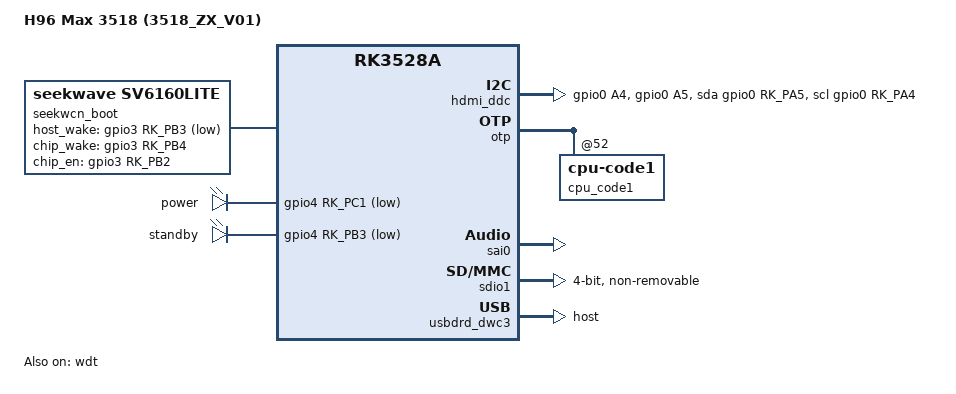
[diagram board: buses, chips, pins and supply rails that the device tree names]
/dts-v1/;

/*
 * Written by tools/dtcx/upstream.py from board.dts: a view, not edited.
 * Over rockchip-linux/kernel at 77168c8d5ab8.
 */

#include "rk3528-evb1-ddr4-v10.dts"
#include <dt-bindings/clock/rk3528-cru.h>
#include <dt-bindings/gpio/gpio.h>
#include <dt-bindings/pinctrl/rockchip.h>
#include <dt-bindings/input/linux-event-codes.h>
#include <dt-bindings/suspend/rockchip-rk3528.h>

/ {
	/* board name first: the Seekwave driver builds its firmware filenames from it.
	 * rk3528a last, because rkmpp has no rk3518 entry and cannot otherwise find the VPU */
	compatible = "h96max-3518,rk3518-tvbox", "rockchip,rk3518-evb1-ddr4-v10", "rockchip,rk3518", "rockchip,rk3528a";
	model = "H96 Max 3518 (3518_ZX_V01)";
	/delete-node/ vdd-logic;
	/delete-node/ vdd-gpu;
	/delete-node/ chosen;

	aliases {
		/delete-property/ ethernet1;
	};

	cpuinfo {
		nvmem-cells = <&otp_id>, <&otp_cpu_version>, <&cpu_code>, <&cpu_code1>;
		nvmem-cell-names = "id", "cpu-version", "cpu-code", "cpu-code1";
	};

	/* the HDMI DDC lines as a full I2C bus: dw-hdmi's own master reads the EDID but refuses DDC/CI */
	hdmi_ddc: i2c-hdmi-ddc {
		compatible = "i2c-gpio";
		sda-gpios = <&gpio0 RK_PA5 GPIO_OPEN_DRAIN>;
		scl-gpios = <&gpio0 RK_PA4 GPIO_OPEN_DRAIN>;
		i2c-gpio,delay-us = <5>;
		pinctrl-names = "default";
		pinctrl-0 = <&hdmi_ddc_gpio>;
		#address-cells = <1>;
		#size-cells = <0>;
	};

	seekwcn_boot: seekwcn_boot {
		compatible = "seekwave,sv6160lite";
		dma_type = <0x01>;
		seekwave_nv_name = "SEEKWAVE_NV_SWT6652.bin";
		gpio_host_wake = <&gpio3 RK_PB3 GPIO_ACTIVE_LOW>;
		gpio_chip_wake = <&gpio3 RK_PB4 GPIO_ACTIVE_HIGH>;
		gpio_chip_en = <&gpio3 RK_PB2 GPIO_ACTIVE_HIGH>;
		status = "okay";
	};

	leds: gpio-leds {
		compatible = "gpio-leds";

		/* power/standby are the names the shared LED hooks drive; the factory called
		 * them work-green and work-red */
		power {
			gpios = <&gpio4 RK_PC1 GPIO_ACTIVE_LOW>;
			linux,default-trigger = "none";
			default-state = "on";
			retain-state-suspended;
			retain-state-shutdown;
		};

		/* the standby half of the same rename; the factory called it work-red */
		standby {
			gpios = <&gpio4 RK_PB3 GPIO_ACTIVE_LOW>;
			linux,default-trigger = "none";
			default-state = "off";
			retain-state-suspended;
			retain-state-shutdown;
		};
	};
};

&adc_keys {
	vol-up-key {
		/* The recovery button, not a volume key: mainline's code for one. */
		linux,code = <KEY_VENDOR>;
	};
};

&cpu0_opp_table {
	mbist-vmin = <825000 925000 925000>;
	rockchip,pvtm-voltage-sel = <0 1420 0>, <1410 1444 1>, <1445 1474 2>, <1475 1509 3>,
	                            <1510 1544 4>, <1545 1579 5>, <1580 1619 6>,
	                            <1620 1689 7>, <1690 1744 8>, <1745 1799 9>,
	                            <1800 9999 10>;
	rockchip,pvtm-freq = <1416000>;
	rockchip,pvtm-volt = <950000>;
	rockchip,video-1080p-freq = <1200000>;
	/delete-node/ opp-408000000;
	/delete-node/ opp-600000000;
	/delete-node/ opp-816000000;
	/delete-node/ opp-1008000000;
	/delete-node/ opp-1608000000;
	/delete-node/ opp-1800000000;
	/delete-node/ opp-2016000000;

	opp-1200000000 {
		/delete-property/ opp-microvolt-L0;
		/delete-property/ opp-microvolt-L1;
		/delete-property/ opp-microvolt-L2;
		/delete-property/ opp-microvolt-L3;
		/delete-property/ opp-microvolt-L4;
		/delete-property/ opp-microvolt-L5;
		/delete-property/ opp-microvolt-L6;
		opp-microvolt = <900000 900000 1000000>;
	};

	opp-1416000000 {
		/delete-property/ opp-microvolt-L5;
		/delete-property/ opp-microvolt-L6;
		/delete-property/ opp-microvolt-L7;
		/delete-property/ opp-microvolt-L8;
		/delete-property/ opp-microvolt-L9;
		/delete-property/ opp-microvolt-L10;
		/delete-property/ opp-microvolt-L11;
		opp-microvolt = <900000 900000 1000000>;
		opp-microvolt-L1 = <950000 950000 1000000>;
		opp-microvolt-L2 = <937500 937500 1000000>;
		opp-microvolt-L3 = <925000 925000 1000000>;
		opp-microvolt-L4 = <912500 912500 1000000>;
		opp-microvolt-L0 = <962500 962500 1000000>;
	};
};

&dmc {
	system-status-level = <1 8>;
	center-supply = <&vdd_cpu>;
};

&dmc_opp_table {
	rockchip,leakage-voltage-sel = <1 10 0>, <11 14 1>, <15 22 2>, <23 28 3>,
	                               <29 254 4>;
	/delete-node/ opp-920000000;

	opp-324000000 {
		opp-microvolt = <900000 900000 1000000>;
	};

	opp-666000000 {
		opp-microvolt = <900000 900000 1000000>;
	};

	opp-1056000000 {
		/delete-property/ opp-microvolt-L0;
		/delete-property/ opp-microvolt-L1;
		/delete-property/ opp-microvolt-L2;
		/delete-property/ opp-microvolt-L3;
		/delete-property/ opp-microvolt-L4;
		opp-microvolt = <900000 900000 1000000>;
	};

	opp-780000000 {
		opp-hz = /bits/ 64 <780000000>;
		opp-microvolt = <900000 900000 1000000>;
	};
};

&gmac1 {
	status = "disabled";
};

&gpu {
	/* names mainline lima expects; the vendor Mali blob used its own */
	interrupt-names = "gp", "gpmmu", "pp", "pp0", "ppmmu0", "pp1", "ppmmu1";
	clocks = <&cru ACLK_GPU_MALI>, <&cru ACLK_GPU_MALI>;
	clock-names = "bus", "core";
	mali-supply = <&vdd_cpu>;
};

&gpu_bus {
	status = "disabled";
};

&gpu_bus_opp_table {
	rockchip,leakage-voltage-sel = <1 22 0>, <23 254 1>;
};

&gpu_opp_table {
	rockchip,pvtm-voltage-sel = <0 809 0>, <810 830 1>, <831 850 2>, <851 880 3>,
	                            <881 890 4>, <891 910 5>, <911 930 6>, <931 950 7>,
	                            <951 970 8>, <971 995 9>, <1000 9999 10>;
	rockchip,pvtm-volt = <950000>;
	/delete-node/ opp-300000000;
	/delete-node/ opp-500000000;
	/delete-node/ opp-600000000;

	opp-700000000 {
		/delete-property/ opp-microvolt-L1;
		/delete-property/ opp-microvolt-L2;
		/delete-property/ opp-microvolt-L3;
		/delete-property/ opp-microvolt-L4;
		/delete-property/ opp-microvolt-L5;
		/delete-property/ opp-microvolt-L6;
		/delete-property/ opp-microvolt-L7;
		/delete-property/ opp-microvolt-L8;
		/delete-property/ clock-latency-ns;
	};

	opp-800000000 {
		/delete-property/ opp-microvolt-L6;
		/delete-property/ opp-microvolt-L7;
		/delete-property/ opp-microvolt-L8;
		/delete-property/ clock-latency-ns;
		opp-microvolt = <900000 900000 1000000>;
		opp-microvolt-L1 = <950000 950000 1000000>;
		opp-microvolt-L2 = <937500 937500 1000000>;
		opp-microvolt-L3 = <925000 925000 1000000>;
		opp-microvolt-L4 = <912500 912500 1000000>;
		opp-microvolt-L5 = <900000 900000 1000000>;
		opp-microvolt-L0 = <962500 962500 1000000>;
	};
};

&gpu_power_model {
	ls = <0xffffc2d6 0x1071a 0x00>;
	ts = <0x302a42 0x1d55a 0xfffff636 0x27>;
};

&hdmi {
	ddc-i2c-bus = <&hdmi_ddc>;
};

&hdmi_pins {
	rockchip,pins = <0 RK_PA3 1 &pcfg_pull_none>;
};

&i2c6 {
	status = "disabled";
};

&otp {
	cpu_code1: cpu-code1@52 {
		reg = <0x52 0x02>;
	};
};

&pinctrl {
	hdmi {
		hdmi_ddc_gpio: hdmi-ddc-gpio {
			rockchip,pins = <0 RK_PA4 RK_FUNC_GPIO &pcfg_pull_none>,
			                <0 RK_PA5 RK_FUNC_GPIO &pcfg_pull_none>;
		};
	};
};

&pwm3 {
	/* IR as an ATF wake source, so the remote can power the box on */
	remote_support_psci = <0x01>;

	ir_key4 {
		rockchip,usercode = <0x7f80>;
		rockchip,key_table = <0xec KEY_REPLY>, <0xd8 KEY_BACK>, <0xc7 KEY_UP>,
		                     <0xbf KEY_DOWN>, <0xc8 KEY_LEFT>, <0xc6 KEY_RIGHT>,
		                     <0x8c KEY_HOME>, <0x78 KEY_VOLUMEUP>,
		                     <0x76 KEY_VOLUMEDOWN>, <0x7e KEY_POWER>,
		                     <0x7c KEY_MENU>, <0xb7 KEY_TEXT>;
	};

	ir_key5 {
		rockchip,usercode = <0xfeaa>;
		rockchip,key_table = <0xec KEY_REPLY>, <0xe6 KEY_BACK>, <0xe9 KEY_UP>,
		                     <0xe5 KEY_DOWN>, <0xae KEY_LEFT>, <0xaf KEY_RIGHT>,
		                     <0xee KEY_HOME>, <0xe7 KEY_VOLUMEUP>,
		                     <0xef KEY_VOLUMEDOWN>, <0xbf KEY_POWER>,
		                     <0xbe KEY_MUTE>, <0xb3 KEY_MENU>, <0xff KEY_TEXT>,
		                     <0xb1 KEY_RED>, <0xf2 KEY_GREEN>, <0xf3 KEY_3>,
		                     <0xb5 KEY_4>, <0xf6 KEY_5>, <0xf7 KEY_6>,
		                     <0xb9 KEY_YELLOW>, <0xfa KEY_BLUE>, <0xfb KEY_9>,
		                     <0xfe KEY_0>, <0xbd KEY_BACKSPACE>, <0xbc KEY_F13>,
		                     <0xf0 KEY_F16>, <0xb4 KEY_PREVIOUS>, <0xb8 KEY_A>,
		                     <0xb0 KEY_NEXT>;
	};

	ir_key6 {
		rockchip,usercode = <0xfb04>;
		/* The bundled remote, onto the canonical keymap: cog, voice, mouse, OK, home, P and the app keys. */
		rockchip,key_table = <0xf7 KEY_POWER>, <0xd0 KEY_TOUCHPAD_TOGGLE>,
		                     <0xb5 KEY_MENU>, <0x5b KEY_SEARCH>, <0x4d KEY_CONFIG>,
		                     <0xba KEY_UP>, <0xb9 KEY_DOWN>, <0xb8 KEY_LEFT>,
		                     <0xb7 KEY_RIGHT>, <0xbb KEY_OK>, <0xe5 KEY_BACK>,
		                     <0xe4 KEY_BACKSPACE>, <0xd2 KEY_HOMEPAGE>,
		                     <0xfd KEY_VOLUMEUP>, <0xfc KEY_VOLUMEDOWN>,
		                     <0xf6 0x71>, <0xff KEY_CHANNELUP>,
		                     <0xfe KEY_CHANNELDOWN>, <0x04 KEY_RED>,
		                     <0x14 KEY_YELLOW>, <0x4c KEY_BLUE>, <0x4b KEY_GREEN>;
	};

	ir_key7 {
		rockchip,usercode = <0xfe01>;
		rockchip,key_table = <0xec KEY_REPLY>, <0xe6 KEY_BACK>, <0xe9 KEY_UP>,
		                     <0xe5 KEY_DOWN>, <0xae KEY_LEFT>, <0xaf KEY_RIGHT>,
		                     <0xee KEY_HOME>, <0xe7 KEY_VOLUMEUP>,
		                     <0xef KEY_VOLUMEDOWN>, <0xbf KEY_POWER>,
		                     <0xbe KEY_MUTE>, <0xb3 KEY_MENU>, <0xff KEY_TEXT>,
		                     <0xb1 KEY_1>, <0xf2 KEY_2>, <0xf3 KEY_3>, <0xb5 KEY_4>,
		                     <0xf6 KEY_5>, <0xf7 KEY_6>, <0xb9 KEY_7>, <0xfa KEY_8>,
		                     <0xfb KEY_9>, <0xfe KEY_0>, <0xbd KEY_BACKSPACE>,
		                     <0xbc KEY_F13>, <0xf0 KEY_F16>, <0xb4 KEY_PREVIOUS>,
		                     <0xb8 KEY_A>, <0xb0 KEY_NEXT>;
	};

	ir_key8 {
		rockchip,key_table = <0x31 KEY_REPLY>, <0x6a KEY_BACK>, <0x35 KEY_UP>,
		                     <0x2d KEY_DOWN>, <0x66 KEY_LEFT>, <0x3e KEY_RIGHT>,
		                     <0x7f KEY_VOLUMEUP>, <0x7e KEY_VOLUMEDOWN>,
		                     <0x23 KEY_POWER>, <0x63 KEY_MUTE>, <0x6d KEY_1>,
		                     <0x6c KEY_2>, <0x33 KEY_3>, <0x71 KEY_4>, <0x70 KEY_5>,
		                     <0x37 KEY_6>, <0x75 KEY_7>, <0x74 KEY_8>, <0x3b KEY_9>,
		                     <0x78 KEY_0>, <0x73 KEY_PAGEDOWN>, <0x22 KEY_PAGEUP>,
		                     <0x72 KEY_SETUP>, <0x7a 0xf9>, <0x79 0xfa>,
		                     <0x77 0xfb>, <0x2f 0xfc>, <0x32 0xfd>, <0x6e 0xfe>,
		                     <0x7c 0xff>, <0x3c BTN_0>, <0x3a KEY_HELP>,
		                     <0x67 BTN_1>, <0x25 BTN_3>, <0x7d KEY_MENU>,
		                     <0x3f KEY_EQUAL>, <0x29 KEY_TEXT>,
		                     <0x26 KEY_PLAYPAUSE>, <0x76 KEY_BLUE>,
		                     <0x7b KEY_YELLOW>, <0x69 KEY_F8>;
	};

	ir_key9 {
		rockchip,key_table = <0x81 KEY_REPLY>, <0x80 KEY_BACK>, <0x85 KEY_UP>,
		                     <0x87 KEY_DOWN>, <0x84 KEY_LEFT>, <0x86 KEY_RIGHT>,
		                     <0x99 KEY_VOLUMEUP>, <0x9a KEY_VOLUMEDOWN>,
		                     <0x96 KEY_POWER>, <0x9b KEY_MUTE>, <0x89 KEY_1>,
		                     <0x8a KEY_2>, <0x8b KEY_3>, <0x8c KEY_4>, <0x8d KEY_5>,
		                     <0x8e KEY_6>, <0x8f KEY_7>, <0x90 KEY_8>, <0x91 KEY_9>,
		                     <0x88 KEY_0>, <0x83 KEY_PAGEDOWN>, <0x82 KEY_PAGEUP>,
		                     <0x95 KEY_SETUP>, <0x97 0xf9>, <0x98 0xfa>,
		                     <0xc6 BTN_4>, <0xd6 0xfb>, <0xd7 0x10e>, <0xcc 0xfc>,
		                     <0xc3 BTN_8>, <0xd1 0xfd>, <0xd2 0xfe>, <0xd3 0xff>,
		                     <0xd4 BTN_0>, <0xc7 0xfd>, <0xc8 0xfe>, <0xc9 0xff>,
		                     <0xca BTN_0>, <0xcd BTN_9>, <0xce 0x10a>,
		                     <0xcf KEY_HELP>, <0xd0 0x10b>, <0x9c BTN_1>,
		                     <0x93 BTN_2>, <0x92 BTN_3>, <0xc0 KEY_END>,
		                     <0xc1 BTN_7>, <0x9d KEY_PLAYPAUSE>, <0xc4 KEY_STOP>,
		                     <0x94 KEY_EQUAL>, <0x9e KEY_YELLOW>, <0x9f KEY_BLUE>,
		                     <0xcb BTN_5>, <0xc5 BTN_6>;
	};
};

&reboot_mode {
	mode-bootloader = <0x5242c301>;
	mode-charge = <0x5242c30b>;
	mode-fastboot = <0x5242c309>;
	mode-loader = <0x5242c301>;
	mode-normal = <0x5242c300>;
	mode-recovery = <0x5242c303>;
	mode-ums = <0x5242c30c>;
	mode-panic = <0x5242c307>;
	mode-watchdog = <0x5242c308>;
	/* `reboot maskrom` from the OS: the factory SPL reads this register
	 * on the way up and hands to the BootROM — no button, no serial */
	mode-maskrom = <0xef08a53c>;
};

&rockchip_suspend {
	rockchip,sleep-mode-config = <RKPM_SLP_ARMPD>;
	rockchip,wakeup-config = <(RKPM_CPU0_WKUP_EN | RKPM_GPIO_WKUP_EN)>;
	rockchip,pwm-regulator-config = <(RKPM_PWM0_M0_REGULATOR_EN | RKPM_PWM1_M0_REGULATOR_EN)>;
};

&route_hdmi {
	/delete-property/ logo,kernel;
	logo,mode = "fullscreen";
};

&route_tve {
	/delete-property/ logo,kernel;
	logo,mode = "fullscreen";
};

&sai0 {
	pinctrl-0 = <&i2s0m0_lrck>, <&i2s0m0_sclk>, <&i2s0m0_sdi>, <&i2s0m0_sdo>;
	status = "okay";
};

&sai1 {
	status = "disabled";
};

&sdhci {
	/delete-property/ mmc-hs400-1_8v;
	/delete-property/ mmc-hs400-enhanced-strobe;
	max-frequency = <100000000>;
	mmc-hs200-1_8v;
};

&sdio0 {
	status = "disabled";
};

&sdio1 {
	max-frequency = <200000000>;
	no-sd;
	no-mmc;
	supports-sdio;
	bus-width = <4>;
	disable-wp;
	cap-sd-highspeed;
	cap-sdio-irq;
	keep-power-in-suspend;
	non-removable;
	mmc-pwrseq = <&sdio_pwrseq>;
	pinctrl-names = "default";
	pinctrl-0 = <&sdio1_bus4>, <&sdio1_cmd>, <&sdio1_clk>;
	sd-uhs-sdr104;
	status = "okay";
};

&sdio_pwrseq {
	reset-gpios = <&gpio3 RK_PB2 GPIO_ACTIVE_LOW>;
	/* Each failed init retries after a power-off; a reset this long restarts a chip left running by a warm reboot. */
	power-off-delay-us = <200000>;
};

&tve {
	rockchip,tve-upsample = <0x02>;
};

&usbdrd_dwc3 {
	dr_mode = "host";
};

&vcc5v0_otg {
	gpio = <&gpio4 RK_PB4 GPIO_ACTIVE_HIGH>;
};

/* on this board vdd_cpu is also vdd_gpu and vdd_logic */
vdd_gpu: &vdd_cpu { };
vdd_logic: &vdd_cpu { };

&vop {
	/delete-property/ support-multi-area;
	/* factory 03 caps every Esmart window at 2K; 02 gives Esmart0 a 4K line buffer */
	esmart_lb_mode = [02];
};

&wdt {
	/* /dev/watchdog for systemd RuntimeWatchdogSec - also the only hang recorder */
	status = "okay";
};

&wifi_enable_h {
	rockchip,pins = <3 RK_PB2 RK_FUNC_GPIO &pcfg_pull_none>;
};

&wireless_bluetooth {
	status = "disabled";
};

&wireless_wlan {
	status = "disabled";
};
